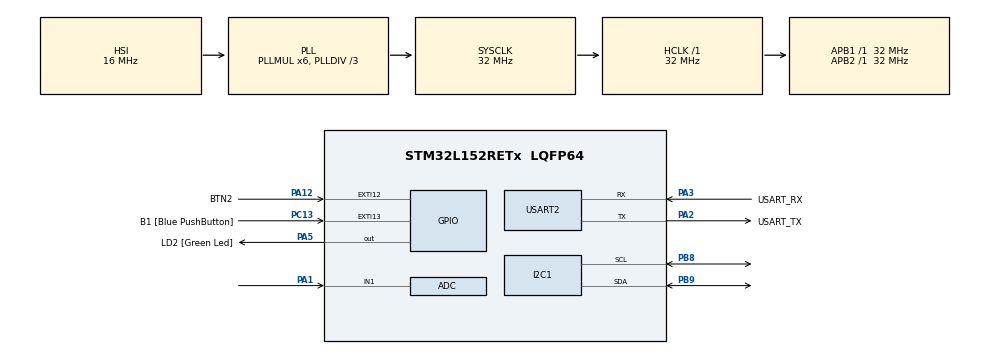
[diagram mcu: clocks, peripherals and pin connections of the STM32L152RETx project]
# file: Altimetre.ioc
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ADC.Channel-1\#ChannelRegularConversion=ADC_CHANNEL_1
ADC.EOCSelection=ADC_EOC_SINGLE_CONV
ADC.NbrOfConversionFlag=1
ADC.Rank-1\#ChannelRegularConversion=1
ADC.SamplingTime-1\#ChannelRegularConversion=ADC_SAMPLETIME_4CYCLES
I2C1.I2C_Mode=I2C_Fast
Mcu.Family=STM32L1
Mcu.Name=STM32L152RETx
Mcu.Package=LQFP64
NVIC.EXTI15_10_IRQn=true\:0\:0\:false\:false\:true\:true\:true\:true
NVIC.PriorityGroup=NVIC_PRIORITYGROUP_0
NVIC.TIM3_IRQn=true\:0\:0\:false\:false\:true\:true\:true\:true
PA1.Mode=IN1
PA1.Signal=ADC_IN1
PA12.GPIO_Label=BTN2
PA12.Signal=GPXTI12
PA13.GPIO_Label=TMS
PA13.Mode=Serial_Wire
PA13.Signal=SYS_JTMS-SWDIO
PA14.GPIO_Label=TCK
PA14.Mode=Serial_Wire
PA14.Signal=SYS_JTCK-SWCLK
PA2.GPIO_Label=USART_TX
PA2.Mode=Asynchronous
PA2.Signal=USART2_TX
PA3.GPIO_Label=USART_RX
PA3.Mode=Asynchronous
PA3.Signal=USART2_RX
PA5.GPIO_Label=LD2 [Green Led]
PA5.Signal=GPIO_Output
PB3.GPIO_Label=SWO
PB3.Signal=SYS_JTDO-TRACESWO
PB8.Mode=I2C
PB8.Signal=I2C1_SCL
PB9.Mode=I2C
PB9.Signal=I2C1_SDA
PC13-WKUP2.GPIO_Label=B1 [Blue PushButton]
PC13-WKUP2.Signal=GPXTI13
PC14-OSC32_IN.Mode=LSE-External-Oscillator
PC14-OSC32_IN.Signal=RCC_OSC32_IN
PC15-OSC32_OUT.Mode=LSE-External-Oscillator
PC15-OSC32_OUT.Signal=RCC_OSC32_OUT
PH0-OSC_IN.Mode=HSE-External-Clock-Source
PH0-OSC_IN.Signal=RCC_OSC_IN
PH1-OSC_OUT.Signal=RCC_OSC_OUT
ProjectManager.HeapSize=0x200
ProjectManager.StackSize=0x400
ProjectManager.TargetToolchain=STM32CubeIDE
RCC.48MHZClocksFreq_Value=48000000
RCC.AHBFreq_Value=32000000
RCC.APB1Freq_Value=32000000
RCC.APB1TimFreq_Value=32000000
RCC.APB2Freq_Value=32000000
RCC.APB2TimFreq_Value=32000000
RCC.HCLKFreq_Value=32000000
RCC.HSE_VALUE=8000000
RCC.HSI_VALUE=16000000
RCC.MSI_VALUE=2097000
RCC.PLLDIV=RCC_PLL_DIV3
RCC.PLLMUL=RCC_PLL_MUL6
RCC.RTCClockSelectionVirtual=RCC_RTCCLKSOURCE_LSE
RCC.SYSCLKFreq_VALUE=32000000
RCC.SYSCLKSource=RCC_SYSCLKSOURCE_PLLCLK
RCC.USBOutput=48000000
RCC.VCOOutputFreq_Value=96000000
TIM3.Period=100
TIM3.Prescaler=17500
USART2.VirtualMode=VM_ASYNC
VP_TIM3_VS_ClockSourceINT.Mode=Internal
board=NUCLEO-L152RE

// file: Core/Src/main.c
/* USER CODE BEGIN Header */
/**
  ******************************************************************************
  * @file           : main.c
  * @brief          : Main program body
  ******************************************************************************
  * @attention
  *
  * Copyright (c) 2025 STMicroelectronics.
  * All rights reserved.
  *
  * This software is licensed under terms that can be found in the LICENSE file
  * in the root directory of this software component.
  * If no LICENSE file comes with this software, it is provided AS-IS.
  *
  ******************************************************************************
  */
/* USER CODE END Header */
#include "main.h"

/* USER CODE BEGIN Includes */
#include <stdio.h>
#include <math.h>  // pour powf()
/* USER CODE END Includes */

ADC_HandleTypeDef hadc;

I2C_HandleTypeDef hi2c1;

TIM_HandleTypeDef htim3;

UART_HandleTypeDef huart2;

/* USER CODE BEGIN PV */
#define adresseCapteur 0x5D
/* USER CODE END PV */

void SystemClock_Config(void);
static void MX_GPIO_Init(void);
static void MX_USART2_UART_Init(void);
static void MX_TIM3_Init(void);
static void MX_I2C1_Init(void);
static void MX_ADC_Init(void);
/* USER CODE BEGIN PFP */
void scan_i2c_bus(I2C_HandleTypeDef *hi2c);
float lire_pression_LPS22HH(I2C_HandleTypeDef *hi2c);
uint32_t lire_adc(ADC_HandleTypeDef *hadc);
/* USER CODE END PFP */

int main(void)
{

  /* MCU Configuration--------------------------------------------------------*/

  /* Reset of all peripherals, Initializes the Flash interface and the Systick. */
  HAL_Init();

  /* Configure the system clock */
  SystemClock_Config();

  /* Initialize all configured peripherals */
  MX_GPIO_Init();
  MX_USART2_UART_Init();
  MX_TIM3_Init();
  MX_I2C1_Init();
  MX_ADC_Init();
  /* USER CODE BEGIN 2 */
  //HAL_TIM_Base_Start_IT(&htim3);  // <--- START TIMER EN MODE INTERRUPTION
  printf("Init OK\r\n");
  // Active le LPS22HH à 10Hz
	uint8_t reg = 0x10;              // CTRL_REG1
	uint8_t odr = 0x20;              // ODR = 10 Hz (bit[6:4] = 010)
	HAL_I2C_Mem_Write(&hi2c1, adresseCapteur << 1, reg, 1, &odr, 1, 100);

  /* USER CODE END 2 */

  /* Infinite loop */
  /* USER CODE BEGIN WHILE */
  scan_i2c_bus(&hi2c1);
  printf("En attente de BTN2...\r\n");
  while (1)
  {
    /* USER CODE END WHILE */

    /* USER CODE BEGIN 3 */
	  HAL_Delay(1000);
  }
  /* USER CODE END 3 */
}

void SystemClock_Config(void)
{
  RCC_OscInitTypeDef RCC_OscInitStruct = {0};
  RCC_ClkInitTypeDef RCC_ClkInitStruct = {0};

  /** Configure the main internal regulator output voltage
  */
  __HAL_PWR_VOLTAGESCALING_CONFIG(PWR_REGULATOR_VOLTAGE_SCALE1);

  /** Initializes the RCC Oscillators according to the specified parameters
  * in the RCC_OscInitTypeDef structure.
  */
  RCC_OscInitStruct.OscillatorType = RCC_OSCILLATORTYPE_HSI;
  RCC_OscInitStruct.HSIState = RCC_HSI_ON;
  RCC_OscInitStruct.HSICalibrationValue = RCC_HSICALIBRATION_DEFAULT;
  RCC_OscInitStruct.PLL.PLLState = RCC_PLL_ON;
  RCC_OscInitStruct.PLL.PLLSource = RCC_PLLSOURCE_HSI;
  RCC_OscInitStruct.PLL.PLLMUL = RCC_PLL_MUL6;
  RCC_OscInitStruct.PLL.PLLDIV = RCC_PLL_DIV3;
  if (HAL_RCC_OscConfig(&RCC_OscInitStruct) != HAL_OK)
  {
    Error_Handler();
  }

  /** Initializes the CPU, AHB and APB buses clocks
  */
  RCC_ClkInitStruct.ClockType = RCC_CLOCKTYPE_HCLK|RCC_CLOCKTYPE_SYSCLK
                              |RCC_CLOCKTYPE_PCLK1|RCC_CLOCKTYPE_PCLK2;
  RCC_ClkInitStruct.SYSCLKSource = RCC_SYSCLKSOURCE_PLLCLK;
  RCC_ClkInitStruct.AHBCLKDivider = RCC_SYSCLK_DIV1;
  RCC_ClkInitStruct.APB1CLKDivider = RCC_HCLK_DIV1;
  RCC_ClkInitStruct.APB2CLKDivider = RCC_HCLK_DIV1;

  if (HAL_RCC_ClockConfig(&RCC_ClkInitStruct, FLASH_LATENCY_1) != HAL_OK)
  {
    Error_Handler();
  }
}

static void MX_ADC_Init(void)
{

  ADC_ChannelConfTypeDef sConfig = {0};

  /** Configure the global features of the ADC (Clock, Resolution, Data Alignment and number of conversion)
  */
  hadc.Instance = ADC1;
  hadc.Init.ClockPrescaler = ADC_CLOCK_ASYNC_DIV1;
  hadc.Init.Resolution = ADC_RESOLUTION_12B;
  hadc.Init.DataAlign = ADC_DATAALIGN_RIGHT;
  hadc.Init.ScanConvMode = ADC_SCAN_DISABLE;
  hadc.Init.EOCSelection = ADC_EOC_SINGLE_CONV;
  hadc.Init.LowPowerAutoWait = ADC_AUTOWAIT_DISABLE;
  hadc.Init.LowPowerAutoPowerOff = ADC_AUTOPOWEROFF_DISABLE;
  hadc.Init.ChannelsBank = ADC_CHANNELS_BANK_A;
  hadc.Init.ContinuousConvMode = DISABLE;
  hadc.Init.NbrOfConversion = 1;
  hadc.Init.DiscontinuousConvMode = DISABLE;
  hadc.Init.ExternalTrigConv = ADC_SOFTWARE_START;
  hadc.Init.ExternalTrigConvEdge = ADC_EXTERNALTRIGCONVEDGE_NONE;
  hadc.Init.DMAContinuousRequests = DISABLE;
  if (HAL_ADC_Init(&hadc) != HAL_OK)
  {
    Error_Handler();
  }

  /** Configure for the selected ADC regular channel its corresponding rank in the sequencer and its sample time.
  */
  sConfig.Channel = ADC_CHANNEL_1;
  sConfig.Rank = ADC_REGULAR_RANK_1;
  sConfig.SamplingTime = ADC_SAMPLETIME_4CYCLES;
  if (HAL_ADC_ConfigChannel(&hadc, &sConfig) != HAL_OK)
  {
    Error_Handler();
  }

}

static void MX_I2C1_Init(void)
{

  hi2c1.Instance = I2C1;
  hi2c1.Init.ClockSpeed = 400000;
  hi2c1.Init.DutyCycle = I2C_DUTYCYCLE_2;
  hi2c1.Init.OwnAddress1 = 0;
  hi2c1.Init.AddressingMode = I2C_ADDRESSINGMODE_7BIT;
  hi2c1.Init.DualAddressMode = I2C_DUALADDRESS_DISABLE;
  hi2c1.Init.OwnAddress2 = 0;
  hi2c1.Init.GeneralCallMode = I2C_GENERALCALL_DISABLE;
  hi2c1.Init.NoStretchMode = I2C_NOSTRETCH_DISABLE;
  if (HAL_I2C_Init(&hi2c1) != HAL_OK)
  {
    Error_Handler();
  }

}

static void MX_TIM3_Init(void)
{

  TIM_ClockConfigTypeDef sClockSourceConfig = {0};
  TIM_MasterConfigTypeDef sMasterConfig = {0};

  htim3.Instance = TIM3;
  htim3.Init.Prescaler = 17500;
  htim3.Init.CounterMode = TIM_COUNTERMODE_UP;
  htim3.Init.Period = 100;
  htim3.Init.ClockDivision = TIM_CLOCKDIVISION_DIV1;
  htim3.Init.AutoReloadPreload = TIM_AUTORELOAD_PRELOAD_DISABLE;
  if (HAL_TIM_Base_Init(&htim3) != HAL_OK)
  {
    Error_Handler();
  }
  sClockSourceConfig.ClockSource = TIM_CLOCKSOURCE_INTERNAL;
  if (HAL_TIM_ConfigClockSource(&htim3, &sClockSourceConfig) != HAL_OK)
  {
    Error_Handler();
  }
  sMasterConfig.MasterOutputTrigger = TIM_TRGO_RESET;
  sMasterConfig.MasterSlaveMode = TIM_MASTERSLAVEMODE_DISABLE;
  if (HAL_TIMEx_MasterConfigSynchronization(&htim3, &sMasterConfig) != HAL_OK)
  {
    Error_Handler();
  }
  /* USER CODE BEGIN TIM3_Init 2 */
  HAL_NVIC_SetPriority(TIM3_IRQn, 1, 0);
  HAL_NVIC_EnableIRQ(TIM3_IRQn);
  /* USER CODE END TIM3_Init 2 */

}

static void MX_USART2_UART_Init(void)
{

  huart2.Instance = USART2;
  huart2.Init.BaudRate = 115200;
  huart2.Init.WordLength = UART_WORDLENGTH_8B;
  huart2.Init.StopBits = UART_STOPBITS_1;
  huart2.Init.Parity = UART_PARITY_NONE;
  huart2.Init.Mode = UART_MODE_TX_RX;
  huart2.Init.HwFlowCtl = UART_HWCONTROL_NONE;
  huart2.Init.OverSampling = UART_OVERSAMPLING_16;
  if (HAL_UART_Init(&huart2) != HAL_OK)
  {
    Error_Handler();
  }

}

static void MX_GPIO_Init(void)
{
  GPIO_InitTypeDef GPIO_InitStruct = {0};

  /* GPIO Ports Clock Enable */
  __HAL_RCC_GPIOC_CLK_ENABLE();
  __HAL_RCC_GPIOH_CLK_ENABLE();
  __HAL_RCC_GPIOA_CLK_ENABLE();
  __HAL_RCC_GPIOB_CLK_ENABLE();

  /*Configure GPIO pin Output Level */
  HAL_GPIO_WritePin(LD2_GPIO_Port, LD2_Pin, GPIO_PIN_RESET);

  /*Configure GPIO pin : B1_Pin */
  GPIO_InitStruct.Pin = B1_Pin;
  GPIO_InitStruct.Mode = GPIO_MODE_IT_RISING;
  GPIO_InitStruct.Pull = GPIO_NOPULL;
  HAL_GPIO_Init(B1_GPIO_Port, &GPIO_InitStruct);

  /*Configure GPIO pin : LD2_Pin */
  GPIO_InitStruct.Pin = LD2_Pin;
  GPIO_InitStruct.Mode = GPIO_MODE_OUTPUT_PP;
  GPIO_InitStruct.Pull = GPIO_NOPULL;
  GPIO_InitStruct.Speed = GPIO_SPEED_FREQ_LOW;
  HAL_GPIO_Init(LD2_GPIO_Port, &GPIO_InitStruct);

  /*Configure GPIO pin : BTN2_Pin */
  GPIO_InitStruct.Pin = BTN2_Pin;
  GPIO_InitStruct.Mode = GPIO_MODE_IT_RISING;
  GPIO_InitStruct.Pull = GPIO_NOPULL;
  HAL_GPIO_Init(BTN2_GPIO_Port, &GPIO_InitStruct);

  /* EXTI interrupt init*/
  HAL_NVIC_SetPriority(EXTI15_10_IRQn, 0, 0);
  HAL_NVIC_EnableIRQ(EXTI15_10_IRQn);

}

/* USER CODE BEGIN 4 */
int __io_putchar(int ch) {
    HAL_UART_Transmit(&huart2, (uint8_t *)&ch, 1, HAL_MAX_DELAY);
    return ch;
}

uint32_t lire_adc(ADC_HandleTypeDef *hadc) {
    HAL_ADC_Start(hadc);
    HAL_ADC_PollForConversion(hadc, HAL_MAX_DELAY);
    uint32_t val = HAL_ADC_GetValue(hadc);
    HAL_ADC_Stop(hadc);
    return val;
}

float lire_pression_LPS22HH(I2C_HandleTypeDef *hi2c) {
    uint8_t buffer[3] = {0};
    uint8_t reg = 0x28;  // PRESS_OUT_XL

    // Lecture de 3 octets consécutifs
    if (HAL_I2C_Mem_Read(hi2c, adresseCapteur << 1, reg | 0x80, 1, buffer, 3, 100) != HAL_OK) {
        printf("Erreur lecture LPS22HH\r\n");
        return -1;
    }

    int32_t raw_press = (int32_t)(buffer[2] << 16 | buffer[1] << 8 | buffer[0]);

    // Le capteur retourne une pression en 1/4096 hPa
    float pressure_hPa = raw_press / 4096.0f;

    return pressure_hPa;
}

void scan_i2c_bus(I2C_HandleTypeDef *hi2c) {
    printf("Scan I2C...\r\n");

    for (uint8_t addr = 1; addr < 127; addr++) {
        if (HAL_I2C_IsDeviceReady(hi2c, (addr << 1), 3, 50) == HAL_OK) {
            printf("-> Device found at 0x%02X\r\n", addr);
        }
        HAL_Delay(10); // 🔧 ajoute une pause
    }

    printf("Scan termine.\r\n");
}

void HAL_TIM_PeriodElapsedCallback(TIM_HandleTypeDef *htim) {
    if (htim->Instance == TIM3) {
    	uint32_t adc_val = lire_adc(&hadc);
    	float pression_niveau_mer = 1010.0f + (adc_val / 4095.0f) * 20.0f;
        float offset = +0.0f;
        float pression = lire_pression_LPS22HH(&hi2c1);
        float pression_corrigee = pression + offset;
        float altitude = 44330.0f * (1.0f - powf(pression_corrigee / pression_niveau_mer, 1.0f / 5.255f));
        //printf("Pression de reference: %.2f hPa |Pression mesuree: %.2f hPa | Altitude : %.2f m\n",pression_niveau_mer, pression_corrigee, altitude);
        printf("%.2f\n", pression_corrigee);
    }
}

void HAL_GPIO_EXTI_Callback(uint16_t GPIO_Pin) {
    if (GPIO_Pin == GPIO_PIN_12) {
        static uint8_t start = 0;

        if (!start) {
            start = 1;
            printf("BTN2 presse -> lancement des mesures\n");
            HAL_TIM_Base_Start_IT(&htim3);  // 🔥 lancement du timer
        }
    }
}

/* USER CODE END 4 */

void Error_Handler(void)
{
  __disable_irq();
  while (1)
  {
  }
}
